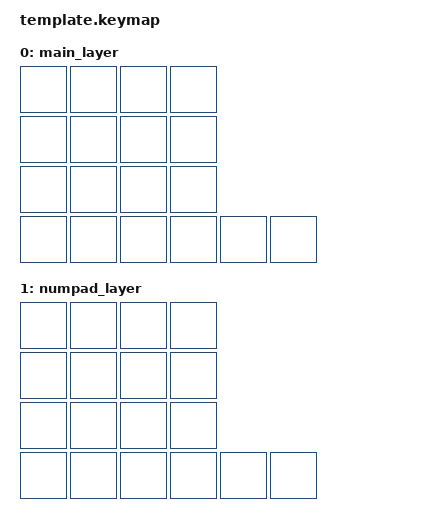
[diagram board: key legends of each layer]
#include <behaviors.dtsi>
#include <dt-bindings/zmk/keys.h>

/*
 * Position des touches (ordre à respecter dans chaque couche) :
 *
 *   S1   S2   S3   S4
 *   S5   S6   S7   S8
 *   S9   S10  S11  S12
 *   S13  S14  S15  S16  S17  S18
 */

/ {
    keymap {
        compatible = "zmk,keymap";

        main_layer {
            bindings = <
                &none &none &none &none
                &none &none &none &none
                &none &none &none &none
                &none &none &none &none &none &none
            >;
        };

        numpad_layer {
            bindings = <
                &none &none &none &none
                &none &none &none &none
                &none &none &none &none
                &none &none &none &none &none &none
            >;
        };
    };
};
